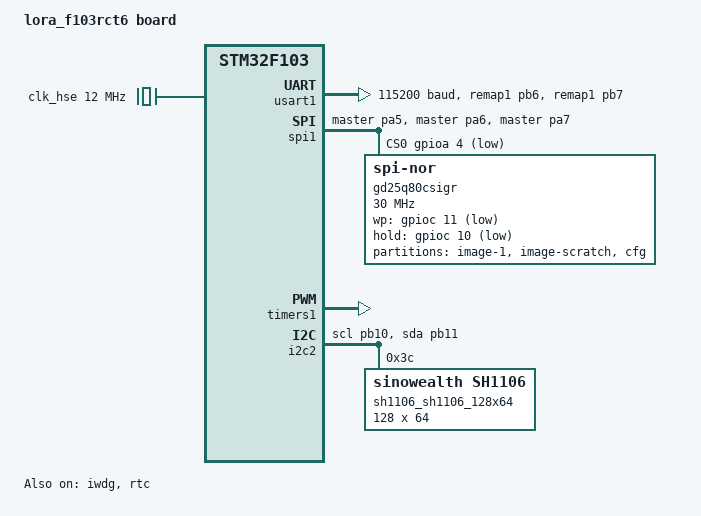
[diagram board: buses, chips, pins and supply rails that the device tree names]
/*
 * Copyright (c) 2020 WuhanStudio
 *
 * SPDX-License-Identifier: Apache-2.0
 */

/dts-v1/;
#include <st/f1/stm32f103Xc.dtsi>
#include <st/f1/stm32f103r(c-d-e)tx-pinctrl.dtsi>

/ {
	model = "lora_f103rct6 board";
	compatible = "stm32f103";

	chosen {
		zephyr,console = &usart1;
		zephyr,shell-uart = &usart1;
		zephyr,sram = &sram0;
		zephyr,flash = &flash0;
		zephyr,code-partition = &slot0_partition;
		zephyr,display = &sh1106_sh1106_128x64;
	};
};

&clk_lsi {
	status = "okay";
};

&clk_hse {
	clock-frequency = <DT_FREQ_M(12)>;
	status = "okay";
};

&pll {
	mul = <6>;
	clocks = <&clk_hse>;
	status = "okay";
};

&rcc {
	clocks = <&pll>;
	clock-frequency = <DT_FREQ_M(72)>;
	ahb-prescaler = <1>;
	apb1-prescaler = <2>;
	apb2-prescaler = <1>;
	/* usbpre not set: USB clock = 72 / 1.5: 48MHz */
};

&usart1 {
	pinctrl-0 = <&usart1_tx_remap1_pb6 &usart1_rx_remap1_pb7>;
	pinctrl-names = "default";
	current-speed = <115200>;
	status = "okay";
};

&spi1 {
	pinctrl-0 = <&spi1_sck_master_pa5
		     &spi1_miso_master_pa6 &spi1_mosi_master_pa7>;
	pinctrl-names = "default";
	cs-gpios = <&gpioa 4 GPIO_ACTIVE_LOW>;
	status = "okay";
	gd25q80csigr: gd25q80csigr@0 {
		compatible = "jedec,spi-nor";
		reg = <0x0>;
		spi-max-frequency = <30000000>;
		wp-gpios = <&gpioc 11 GPIO_ACTIVE_LOW>;
		hold-gpios = <&gpioc 10 GPIO_ACTIVE_LOW>;
		size = <0x800000>;
		jedec-id = [c8 40 14];
		partitions {
			compatible = "fixed-partitions";
			#address-cells = <1>;
			#size-cells = <1>;

			slot1_partition: partition@0 {
				label = "image-1";
				reg = <0x00000000 DT_SIZE_K(192)>;
			};
			scratch_partition: partition@30000 {
				label = "image-scratch";
				reg = <0x00030000 DT_SIZE_K(192)>;
			};
			cfg_partition: partition@60000 {
				label = "cfg";
				reg = <0x00060000 DT_SIZE_K(640)>;
			};
		};
	};
};

&iwdg {
	status = "okay";
};

&timers1 {
	st,prescaler = <10000>;
	status = "okay";

	pwm1: pwm {
		status = "okay";
		pinctrl-0 = <&tim1_ch1_pwm_out_pa8>;
		pinctrl-names = "default";
	};
};

&rtc {
	clocks = <&rcc STM32_CLOCK_BUS_APB1 0x10000000>,
		 <&rcc STM32_SRC_LSI RTC_SEL(2)>;
	status = "okay";
};

&flash0 {
	partitions {
		compatible = "fixed-partitions";
		#address-cells = <1>;
		#size-cells = <1>;

		boot_partition: partition@0 {
			label = "mcuboot";
			reg = <0x00000000 DT_SIZE_K(64)>;
			read-only;
		};

		slot0_partition: partition@10000 {
			label = "image-0";
			reg = <0x00010000 DT_SIZE_K(192)>;
		};
	};
};

&i2c2 {
	pinctrl-0 = <&i2c2_scl_pb10 &i2c2_sda_pb11>;
	pinctrl-names = "default";
	status = "okay";

	sh1106_sh1106_128x64: ssd1306@3c {
		compatible = "sinowealth,sh1106";
		reg = <0x3c>;
		width = <128>;
		height = <64>;
		segment-offset = <2>;
		page-offset = <0>;
		display-offset = <0>;
		multiplex-ratio = <63>;
		segment-remap;
		com-invdir;
		prechargep = <0x22>;
	};
};

